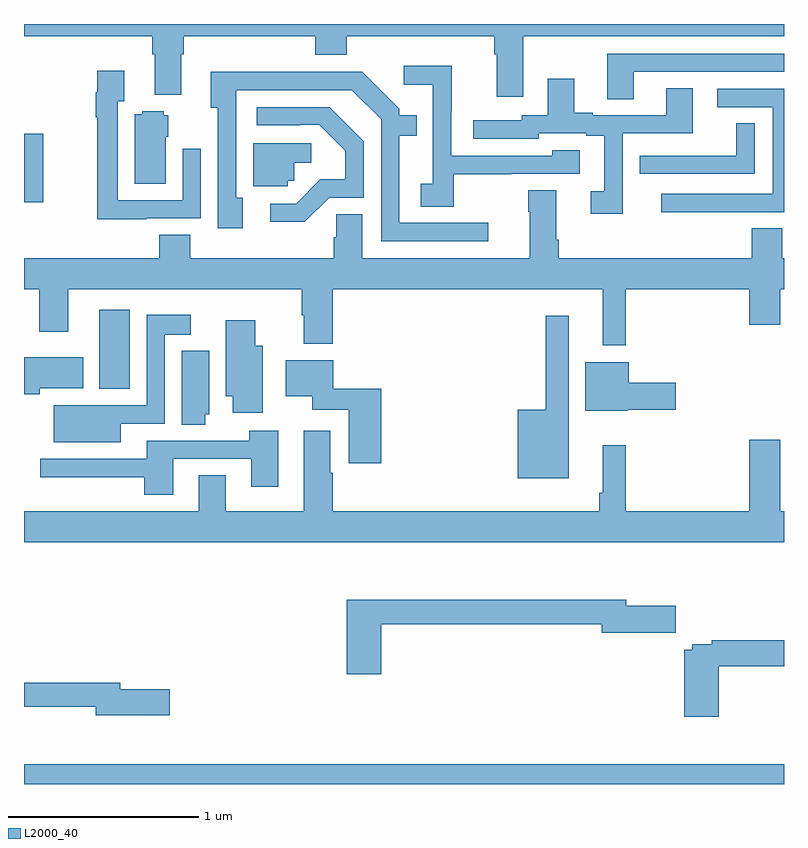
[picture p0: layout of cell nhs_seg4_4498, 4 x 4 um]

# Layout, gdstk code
import gdstk
lib = gdstk.Library(unit=1e-6, precision=1e-09)
def R(c, l, rs):  # rectangles x0, y0, x1, y1
    for r in rs: c.add(gdstk.rectangle(r[:2], r[2:], *l))
def P(c, l, *ps):  # polygons
    for p in ps: c.add(gdstk.Polygon(p, *l))
L2000_40 = (2000, 40)

nhs_seg4_4498 = lib.new_cell('nhs_seg4_4498')
R(nhs_seg4_4498, L2000_40, [(353,776.9,357,777.004), (353.396,778.979,353.557,779.395), (353,779.962,353.1,780.322)])
P(nhs_seg4_4498, L2000_40, [(355.627,780.836),(357,780.836),(357,780.9),(353,780.9),(353,780.836),(353.675,780.836),(353.675,780.74),(353.687,780.74),(353.687,780.527),(353.827,780.527),(353.827,780.74),(353.84,780.74),(353.84,780.836),(354.533,780.836),(354.533,780.737),(354.698,780.737),(354.698,780.836),(355.475,780.836),(355.475,780.74),(355.487,780.74),(355.487,780.516),(355.627,780.516)],
  [(356.209,780.648),(357,780.648),(357,780.744),(356.069,780.744),(356.069,780.505),(356.209,780.505)],
  [(355.261,780.109),(355.565,780.109),(355.565,780.111),(355.924,780.111),(355.924,780.235),(355.779,780.235),(355.779,780.207),(355.248,780.207),(355.248,780.44),(355.251,780.44),(355.251,780.679),(354.999,780.679),(354.999,780.581),(355.152,780.581),(355.152,780.06),(355.089,780.06),(355.089,779.938),(355.261,779.938)],
  [(353.647,779.877),(353.931,779.877),(353.931,780.244),(353.835,780.244),(353.835,779.973),(353.493,779.973),(353.493,780.494),(353.527,780.494),(353.527,780.655),(353.385,780.655),(353.385,780.542),(353.377,780.542),(353.377,780.41),(353.385,780.41),(353.385,779.873),(353.647,779.873)],
  [(355.444,779.853),(354.976,779.853),(354.976,780.312),(355.067,780.312),(355.067,780.421),(354.975,780.421),(354.975,780.453),(354.78,780.648),(354.449,780.648),(354.449,780.65),(353.984,780.65),(353.984,780.458),(354.021,780.458),(354.021,779.826),(354.151,779.826),(354.151,779.986),(354.117,779.986),(354.117,780.552),(354.726,780.552),(354.879,780.399),(354.879,779.757),(355.444,779.757)],
  [(356.151,780.324),(356.521,780.324),(356.521,780.563),(356.381,780.563),(356.381,780.42),(355.993,780.42),(355.993,780.433),(355.897,780.433),(355.897,780.613),(355.757,780.613),(355.757,780.42),(355.62,780.42),(355.62,780.393),(355.365,780.393),(355.365,780.297),(355.71,780.297),(355.71,780.324),(355.958,780.324),(355.958,780.312),(356.054,780.312),(356.054,780.021),(355.983,780.021),(355.983,779.901),(356.151,779.901)],
  [(356.747,779.91),(357,779.91),(357,780.558),(356.649,780.558),(356.649,780.462),(356.94,780.462),(356.94,780.006),(356.355,780.006),(356.355,779.908),(356.747,779.908)],
  [(354.606,779.985),(354.789,779.985),(354.789,780.283),(354.61,780.462),(354.225,780.462),(354.225,780.366),(354.455,780.366),(354.455,780.369),(354.555,780.369),(354.692,780.232),(354.692,780.082),(354.559,780.082),(354.432,779.955),(354.297,779.955),(354.297,779.858),(354.478,779.858)],
  [(353.746,780.306),(353.758,780.306),(353.758,780.42),(353.736,780.42),(353.736,780.442),(353.622,780.442),(353.622,780.424),(353.582,780.424),(353.582,780.058),(353.746,780.058)],
  [(356.847,780.377),(356.749,780.377),(356.749,780.207),(356.353,780.207),(356.353,780.206),(356.241,780.206),(356.241,780.111),(356.847,780.111)],
  [(354.387,780.075),(354.423,780.075),(354.423,780.17),(354.511,780.17),(354.511,780.273),(354.206,780.273),(354.206,780.045),(354.387,780.045)],
  [(353.876,779.792),(353.711,779.792),(353.711,779.668),(353,779.668),(353,779.504),(353.081,779.504),(353.081,779.28),(353.233,779.28),(353.233,779.504),(354.461,779.504),(354.461,779.366),(354.473,779.366),(354.473,779.216),(354.626,779.216),(354.626,779.504),(356.045,779.504),(356.045,779.208),(356.167,779.208),(356.167,779.504),(356.816,779.504),(356.816,779.316),(356.98,779.316),(356.98,779.504),(357,779.504),(357,779.668),(356.991,779.668),(356.991,779.825),(356.831,779.825),(356.831,779.668),(355.814,779.668),(355.814,779.764),(355.801,779.764),(355.801,780.025),(355.654,780.025),(355.654,779.912),(355.661,779.912),(355.661,779.668),(354.781,779.668),(354.781,779.9),(354.643,779.9),(354.643,779.778),(354.629,779.778),(354.629,779.668),(353.876,779.668)],
  [(353.509,778.797),(353.742,778.797),(353.742,779.264),(353.878,779.264),(353.878,779.371),(353.646,779.371),(353.646,778.893),(353.4,778.893),(353.4,778.894),(353.156,778.894),(353.156,778.7),(353.509,778.7)],
  [(355.867,779.365),(355.746,779.365),(355.746,778.87),(355.598,778.87),(355.598,778.508),(355.867,778.508)],
  [(354.256,779.206),(354.217,779.206),(354.217,779.341),(354.062,779.341),(354.062,778.94),(354.098,778.94),(354.098,778.854),(354.256,778.854)],
  [(353.953,778.845),(353.974,778.845),(353.974,779.179),(353.831,779.179),(353.831,778.792),(353.953,778.792)],
  [(353.082,778.982),(353.311,778.982),(353.311,779.146),(353,779.146),(353,778.952),(353.082,778.952)],
  [(354.881,778.981),(354.628,778.981),(354.628,779.131),(354.377,779.131),(354.377,778.94),(354.518,778.94),(354.518,778.871),(354.71,778.871),(354.71,778.587),(354.881,778.587)],
  [(356.178,778.871),(356.431,778.871),(356.431,779.013),(356.182,779.013),(356.182,779.119),(355.955,779.119),(355.955,778.865),(356.178,778.865)],
  [(353.785,778.611),(354.197,778.611),(354.197,778.464),(354.337,778.464),(354.337,778.759),(354.185,778.759),(354.185,778.707),(353.645,778.707),(353.645,778.611),(353.085,778.611),(353.085,778.514),(353.633,778.514),(353.633,778.422),(353.785,778.422)],
  [(357,778.336),(356.98,778.336),(356.98,778.711),(356.816,778.711),(356.816,778.336),(356.167,778.336),(356.167,778.684),(356.045,778.684),(356.045,778.432),(356.028,778.432),(356.028,778.336),(354.626,778.336),(354.626,778.539),(354.613,778.539),(354.613,778.759),(354.473,778.759),(354.473,778.336),(354.061,778.336),(354.061,778.526),(353.921,778.526),(353.921,778.336),(353,778.336),(353,778.172),(357,778.172)],
  [(354.881,777.742),(356.042,777.742),(356.042,777.695),(356.431,777.695),(356.431,777.837),(356.17,777.837),(356.17,777.871),(354.698,777.871),(354.698,777.477),(354.881,777.477)],
  [(356.657,777.52),(357,777.52),(357,777.656),(356.62,777.656),(356.62,777.636),(356.516,777.636),(356.516,777.607),(356.474,777.607),(356.474,777.255),(356.657,777.255)],
  [(353.767,777.398),(353.506,777.398),(353.506,777.434),(353,777.434),(353,777.306),(353.378,777.306),(353.378,777.263),(353.767,777.263)])

lib.write_gds('nhs_seg4_4498.gds')
